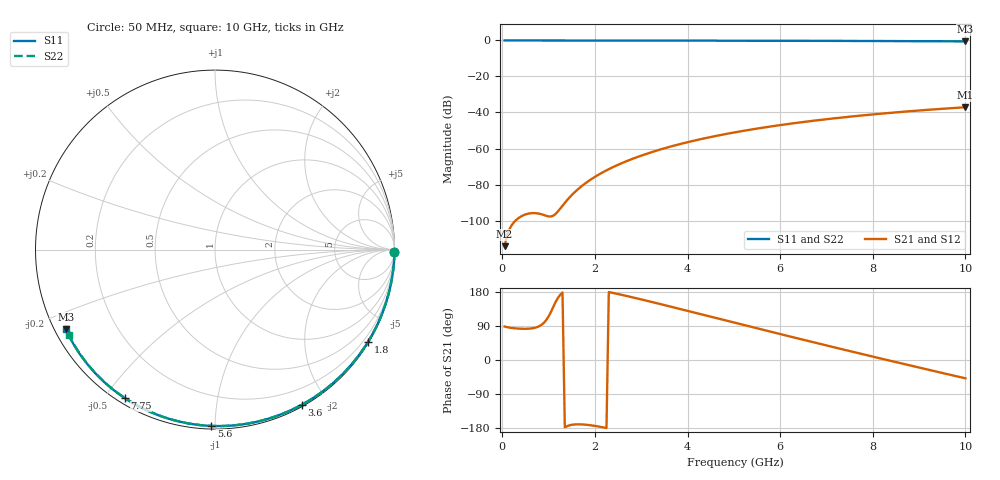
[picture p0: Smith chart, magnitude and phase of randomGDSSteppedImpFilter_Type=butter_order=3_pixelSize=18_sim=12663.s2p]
! freq	dB(S11)	phase(S11)	dB(S12)	phase(S12)
!  dB(S21)	phase(S21)	dB(S22)	phase(S22)
!S-par simulation data
#  GHz  S  DB  R 50
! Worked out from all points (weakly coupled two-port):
!   200 points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, 50 MHz to 10 GHz, reference 50 ohm
!   highest |S21| = -37.09 dB at 10 GHz (marker M1); lowest = -114.2 dB at 50 MHz (marker M2)
!   lowest |S11| = -0.5 dB at 10 GHz (marker M3), VSWR 33.85, Z = 1.57 - j12.5 ohm
!   |S11| at or under -10 dB: nowhere
!   |S22| runs from -0.5 to 0.0 dB; largest |S21 - S12| = 0
!   S11 on the Smith chart (normalised r, x): 50 MHz: open; 1.8 GHz: 0.03, -3.58; 3.6 GHz: 0.02, -1.71; 5.6 GHz: 0.02, -0.98; 7.75 GHz: 0.02, -0.56; 10 GHz: 0.03, -0.25
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0.05  -0.00 -0.9  -114.24 88.3  -114.24 88.3  -0.00 -0.9
0.45  -0.01 -7.9  -97.14 82.3  -97.14 82.3  -0.01 -7.8
0.9  -0.02 -15.8  -96.95 98.4  -96.95 98.4  -0.02 -15.5
1.3  -0.03 -22.6  -91.76 178.0  -91.76 178.0  -0.03 -22.2
1.75  -0.04 -30.3  -80.18 -170.2  -80.18 -170.2  -0.04 -29.8
1.8  -0.04 -31.2  -79.21 -170.7  -79.21 -170.7  -0.04 -30.6
1.95  -0.04 -33.7  -76.57 -173.0  -76.57 -173.0  -0.04 -33.1
2.1  -0.05 -36.2  -74.23 -176.0  -74.23 -176.0  -0.05 -35.6
2.3  -0.05 -39.6  -71.47 179.3  -71.47 179.3  -0.05 -38.8
2.5  -0.06 -42.9  -69.04 174.1  -69.04 174.1  -0.05 -42.1
2.9  -0.06 -49.5  -64.88 162.8  -64.88 162.8  -0.06 -48.6
3.4  -0.08 -57.6  -60.64 148.0  -60.64 148.0  -0.08 -56.5
3.6  -0.08 -60.7  -59.16 141.9  -59.16 141.9  -0.08 -59.7
4.3  -0.10 -71.7  -54.72 120.5  -54.72 120.5  -0.10 -70.4
5.05  -0.13 -83.0  -50.90 97.4  -50.90 97.4  -0.13 -81.6
5.6  -0.15 -91.1  -48.53 80.6  -48.53 80.6  -0.15 -89.6
6.15  -0.18 -99.1  -46.47 63.9  -46.47 63.9  -0.17 -97.4
6.7  -0.21 -106.8  -44.64 47.4  -44.64 47.4  -0.21 -105.1
7.75  -0.28 -121.3  -41.69 16.3  -41.69 16.3  -0.28 -119.4
8.35  -0.33 -129.5  -40.26 -1.2  -40.26 -1.2  -0.33 -127.5
9.2  -0.42 -141.0  -38.50 -25.7  -38.50 -25.7  -0.41 -138.9
10  -0.51 -151.9  -37.09 -48.4  -37.09 -48.4  -0.51 -149.7
